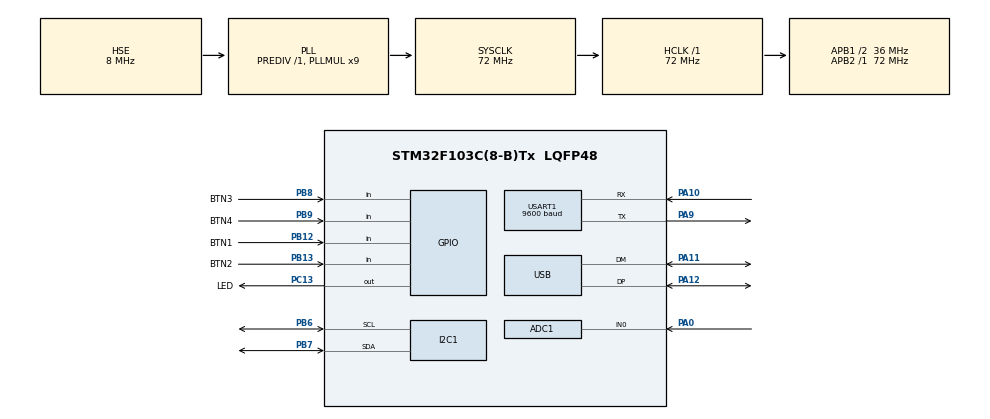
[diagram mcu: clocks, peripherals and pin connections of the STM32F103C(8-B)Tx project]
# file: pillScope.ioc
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ADC1.Channel-0\#ChannelRegularConversion=ADC_CHANNEL_0
ADC1.ContinuousConvMode=DISABLE
ADC1.ExternalTrigConv=ADC_EXTERNALTRIGCONV_T3_TRGO
ADC1.NbrOfConversion=1
ADC1.NbrOfConversionFlag=1
ADC1.Rank-0\#ChannelRegularConversion=1
ADC1.SamplingTime-0\#ChannelRegularConversion=ADC_SAMPLETIME_1CYCLE_5
ADC1.master=1
Dma.ADC1.0.Direction=DMA_PERIPH_TO_MEMORY
Dma.ADC1.0.Instance=DMA1_Channel1
Dma.ADC1.0.MemDataAlignment=DMA_MDATAALIGN_HALFWORD
Dma.ADC1.0.MemInc=DMA_MINC_ENABLE
Dma.ADC1.0.Mode=DMA_NORMAL
Dma.ADC1.0.PeriphDataAlignment=DMA_PDATAALIGN_HALFWORD
Dma.ADC1.0.PeriphInc=DMA_PINC_DISABLE
Dma.ADC1.0.Priority=DMA_PRIORITY_MEDIUM
Dma.Request0=ADC1
Mcu.Family=STM32F1
Mcu.Name=STM32F103C(8-B)Tx
Mcu.Package=LQFP48
NVIC.DMA1_Channel1_IRQn=true\:0\:0\:false\:false\:true\:false\:true\:true
NVIC.PriorityGroup=NVIC_PRIORITYGROUP_4
NVIC.USART1_IRQn=true\:0\:0\:false\:false\:true\:true\:true\:true
NVIC.USB_LP_CAN1_RX0_IRQn=true\:0\:0\:false\:false\:true\:false\:true\:true
PA0-WKUP.Signal=ADCx_IN0
PA10.Mode=Asynchronous
PA10.Signal=USART1_RX
PA11.Mode=Device
PA11.Signal=USB_DM
PA12.Mode=Device
PA12.Signal=USB_DP
PA13.Mode=Serial_Wire
PA13.Signal=SYS_JTMS-SWDIO
PA14.Mode=Serial_Wire
PA14.Signal=SYS_JTCK-SWCLK
PA9.Mode=Asynchronous
PA9.Signal=USART1_TX
PB12.GPIO_Label=BTN1
PB12.GPIO_PuPd=GPIO_PULLUP
PB12.Signal=GPIO_Input
PB13.GPIO_Label=BTN2
PB13.GPIO_PuPd=GPIO_PULLUP
PB13.Signal=GPIO_Input
PB6.Mode=I2C
PB6.Signal=I2C1_SCL
PB7.Mode=I2C
PB7.Signal=I2C1_SDA
PB8.GPIO_Label=BTN3
PB8.GPIO_PuPd=GPIO_PULLUP
PB8.Signal=GPIO_Input
PB9.GPIO_Label=BTN4
PB9.GPIO_PuPd=GPIO_PULLUP
PB9.Signal=GPIO_Input
PC13-TAMPER-RTC.GPIO_Label=LED
PC13-TAMPER-RTC.Signal=GPIO_Output
PD0-OSC_IN.Mode=HSE-External-Oscillator
PD0-OSC_IN.Signal=RCC_OSC_IN
PD1-OSC_OUT.Mode=HSE-External-Oscillator
PD1-OSC_OUT.Signal=RCC_OSC_OUT
ProjectManager.HeapSize=0x200
ProjectManager.StackSize=0x400
ProjectManager.TargetToolchain=Makefile
RCC.ADCPresc=RCC_ADCPCLK2_DIV6
RCC.AHBFreq_Value=72000000
RCC.APB1CLKDivider=RCC_HCLK_DIV2
RCC.APB1Freq_Value=36000000
RCC.APB1TimFreq_Value=72000000
RCC.APB2Freq_Value=72000000
RCC.APB2TimFreq_Value=72000000
RCC.HCLKFreq_Value=72000000
RCC.PLLMUL=RCC_PLL_MUL9
RCC.PLLSourceVirtual=RCC_PLLSOURCE_HSE
RCC.SYSCLKFreq_VALUE=72000000
RCC.SYSCLKSource=RCC_SYSCLKSOURCE_PLLCLK
RCC.USBFreq_Value=48000000
RCC.USBPrescaler=RCC_USBCLKSOURCE_PLL_DIV1_5
SH.ADCx_IN0.0=ADC1_IN0,IN0
TIM3.TIM_MasterOutputTrigger=TIM_TRGO_UPDATE
TIM3.TIM_MasterSlaveMode=TIM_MASTERSLAVEMODE_DISABLE
USART1.BaudRate=9600
USART1.VirtualMode=VM_ASYNC
USB_DEVICE.CLASS_NAME_FS=CDC
USB_DEVICE.PRODUCT_STRING_CDC_FS=pillScope COM Port
USB_DEVICE.VirtualMode=Cdc
USB_DEVICE.VirtualModeFS=Cdc_FS
VP_TIM3_VS_ClockSourceINT.Mode=Internal
VP_USB_DEVICE_VS_USB_DEVICE_CDC_FS.Mode=CDC_FS
board=custom

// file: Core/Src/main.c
/* USER CODE BEGIN Header */
/**
 ******************************************************************************
 * @file           : main.c
 * @brief          : Main program body
 ******************************************************************************
 * @attention
 *
 * Copyright (c) 2022 STMicroelectronics.
 * All rights reserved.
 *
 * This software is licensed under terms that can be found in the LICENSE file
 * in the root directory of this software component.
 * If no LICENSE file comes with this software, it is provided AS-IS.
 *
 ******************************************************************************
 */
/* USER CODE END Header */
#include "main.h"
#include "usb_device.h"

ADC_HandleTypeDef hadc1;
DMA_HandleTypeDef hdma_adc1;

I2C_HandleTypeDef hi2c1;

TIM_HandleTypeDef htim3;

UART_HandleTypeDef huart1;

void SystemClock_Config(void);
static void MX_GPIO_Init(void);
static void MX_DMA_Init(void);
static void MX_ADC1_Init(void);
static void MX_TIM3_Init(void);
static void MX_I2C1_Init(void);
static void MX_USART1_UART_Init(void);

int main(void)
{

  /* MCU Configuration--------------------------------------------------------*/

  /* Reset of all peripherals, Initializes the Flash interface and the Systick. */
  HAL_Init();

  /* Configure the system clock */
  SystemClock_Config();

  /* Initialize all configured peripherals */
  MX_GPIO_Init();
  MX_DMA_Init();
  MX_ADC1_Init();
  MX_TIM3_Init();
  MX_I2C1_Init();
  MX_USB_DEVICE_Init();
  MX_USART1_UART_Init();
  /* USER CODE BEGIN 2 */
  scopeInit();
  /* USER CODE END 2 */

  /* Infinite loop */
  /* USER CODE BEGIN WHILE */
  while (1)
  {
    scopeLoop();
    /* USER CODE END WHILE */

  }
}

void SystemClock_Config(void)
{
  RCC_OscInitTypeDef RCC_OscInitStruct = {0};
  RCC_ClkInitTypeDef RCC_ClkInitStruct = {0};
  RCC_PeriphCLKInitTypeDef PeriphClkInit = {0};

  /** Initializes the RCC Oscillators according to the specified parameters
   * in the RCC_OscInitTypeDef structure.
   */
  RCC_OscInitStruct.OscillatorType = RCC_OSCILLATORTYPE_HSE;
  RCC_OscInitStruct.HSEState = RCC_HSE_ON;
  RCC_OscInitStruct.HSEPredivValue = RCC_HSE_PREDIV_DIV1;
  RCC_OscInitStruct.HSIState = RCC_HSI_ON;
  RCC_OscInitStruct.PLL.PLLState = RCC_PLL_ON;
  RCC_OscInitStruct.PLL.PLLSource = RCC_PLLSOURCE_HSE;
  RCC_OscInitStruct.PLL.PLLMUL = RCC_PLL_MUL9;
  if (HAL_RCC_OscConfig(&RCC_OscInitStruct) != HAL_OK)
  {
    Error_Handler();
  }

  /** Initializes the CPU, AHB and APB buses clocks
   */
  RCC_ClkInitStruct.ClockType = RCC_CLOCKTYPE_HCLK | RCC_CLOCKTYPE_SYSCLK | RCC_CLOCKTYPE_PCLK1 | RCC_CLOCKTYPE_PCLK2;
  RCC_ClkInitStruct.SYSCLKSource = RCC_SYSCLKSOURCE_PLLCLK;
  RCC_ClkInitStruct.AHBCLKDivider = RCC_SYSCLK_DIV1;
  RCC_ClkInitStruct.APB1CLKDivider = RCC_HCLK_DIV2;
  RCC_ClkInitStruct.APB2CLKDivider = RCC_HCLK_DIV1;

  if (HAL_RCC_ClockConfig(&RCC_ClkInitStruct, FLASH_LATENCY_2) != HAL_OK)
  {
    Error_Handler();
  }
  PeriphClkInit.PeriphClockSelection = RCC_PERIPHCLK_ADC | RCC_PERIPHCLK_USB;
  PeriphClkInit.AdcClockSelection = RCC_ADCPCLK2_DIV6;
  PeriphClkInit.UsbClockSelection = RCC_USBCLKSOURCE_PLL_DIV1_5;
  if (HAL_RCCEx_PeriphCLKConfig(&PeriphClkInit) != HAL_OK)
  {
    Error_Handler();
  }
}

static void MX_ADC1_Init(void)
{

  ADC_ChannelConfTypeDef sConfig = {0};

  /** Common config
   */
  hadc1.Instance = ADC1;
  hadc1.Init.ScanConvMode = ADC_SCAN_DISABLE;
  hadc1.Init.ContinuousConvMode = DISABLE;
  hadc1.Init.DiscontinuousConvMode = DISABLE;
  hadc1.Init.ExternalTrigConv = ADC_EXTERNALTRIGCONV_T3_TRGO;
  hadc1.Init.DataAlign = ADC_DATAALIGN_RIGHT;
  hadc1.Init.NbrOfConversion = 1;
  if (HAL_ADC_Init(&hadc1) != HAL_OK)
  {
    Error_Handler();
  }

  /** Configure Regular Channel
   */
  sConfig.Channel = ADC_CHANNEL_0;
  sConfig.Rank = ADC_REGULAR_RANK_1;
  sConfig.SamplingTime = ADC_SAMPLETIME_1CYCLE_5;
  if (HAL_ADC_ConfigChannel(&hadc1, &sConfig) != HAL_OK)
  {
    Error_Handler();
  }
}

static void MX_I2C1_Init(void)
{

  hi2c1.Instance = I2C1;
  hi2c1.Init.ClockSpeed = 100000;
  hi2c1.Init.DutyCycle = I2C_DUTYCYCLE_2;
  hi2c1.Init.OwnAddress1 = 0;
  hi2c1.Init.AddressingMode = I2C_ADDRESSINGMODE_7BIT;
  hi2c1.Init.DualAddressMode = I2C_DUALADDRESS_DISABLE;
  hi2c1.Init.OwnAddress2 = 0;
  hi2c1.Init.GeneralCallMode = I2C_GENERALCALL_DISABLE;
  hi2c1.Init.NoStretchMode = I2C_NOSTRETCH_DISABLE;
  if (HAL_I2C_Init(&hi2c1) != HAL_OK)
  {
    Error_Handler();
  }
}

static void MX_TIM3_Init(void)
{

  TIM_ClockConfigTypeDef sClockSourceConfig = {0};
  TIM_MasterConfigTypeDef sMasterConfig = {0};

  htim3.Instance = TIM3;
  htim3.Init.Prescaler = 0;
  htim3.Init.CounterMode = TIM_COUNTERMODE_UP;
  htim3.Init.Period = 65535;
  htim3.Init.ClockDivision = TIM_CLOCKDIVISION_DIV1;
  htim3.Init.AutoReloadPreload = TIM_AUTORELOAD_PRELOAD_DISABLE;
  if (HAL_TIM_Base_Init(&htim3) != HAL_OK)
  {
    Error_Handler();
  }
  sClockSourceConfig.ClockSource = TIM_CLOCKSOURCE_INTERNAL;
  if (HAL_TIM_ConfigClockSource(&htim3, &sClockSourceConfig) != HAL_OK)
  {
    Error_Handler();
  }
  sMasterConfig.MasterOutputTrigger = TIM_TRGO_UPDATE;
  sMasterConfig.MasterSlaveMode = TIM_MASTERSLAVEMODE_DISABLE;
  if (HAL_TIMEx_MasterConfigSynchronization(&htim3, &sMasterConfig) != HAL_OK)
  {
    Error_Handler();
  }
}

static void MX_USART1_UART_Init(void)
{

  huart1.Instance = USART1;
  huart1.Init.BaudRate = 9600;
  huart1.Init.WordLength = UART_WORDLENGTH_8B;
  huart1.Init.StopBits = UART_STOPBITS_1;
  huart1.Init.Parity = UART_PARITY_NONE;
  huart1.Init.Mode = UART_MODE_TX_RX;
  huart1.Init.HwFlowCtl = UART_HWCONTROL_NONE;
  huart1.Init.OverSampling = UART_OVERSAMPLING_16;
  if (HAL_UART_Init(&huart1) != HAL_OK)
  {
    Error_Handler();
  }
}

static void MX_DMA_Init(void)
{

  /* DMA controller clock enable */
  __HAL_RCC_DMA1_CLK_ENABLE();

  /* DMA interrupt init */
  /* DMA1_Channel1_IRQn interrupt configuration */
  HAL_NVIC_SetPriority(DMA1_Channel1_IRQn, 0, 0);
  HAL_NVIC_EnableIRQ(DMA1_Channel1_IRQn);
}

static void MX_GPIO_Init(void)
{
  GPIO_InitTypeDef GPIO_InitStruct = {0};

  /* GPIO Ports Clock Enable */
  __HAL_RCC_GPIOC_CLK_ENABLE();
  __HAL_RCC_GPIOD_CLK_ENABLE();
  __HAL_RCC_GPIOA_CLK_ENABLE();
  __HAL_RCC_GPIOB_CLK_ENABLE();

  /*Configure GPIO pin Output Level */
  HAL_GPIO_WritePin(LED_GPIO_Port, LED_Pin, GPIO_PIN_RESET);

  /*Configure GPIO pin : LED_Pin */
  GPIO_InitStruct.Pin = LED_Pin;
  GPIO_InitStruct.Mode = GPIO_MODE_OUTPUT_PP;
  GPIO_InitStruct.Pull = GPIO_NOPULL;
  GPIO_InitStruct.Speed = GPIO_SPEED_FREQ_LOW;
  HAL_GPIO_Init(LED_GPIO_Port, &GPIO_InitStruct);

  /*Configure GPIO pins : BTN1_Pin BTN2_Pin BTN3_Pin BTN4_Pin */
  GPIO_InitStruct.Pin = BTN1_Pin | BTN2_Pin | BTN3_Pin | BTN4_Pin;
  GPIO_InitStruct.Mode = GPIO_MODE_INPUT;
  GPIO_InitStruct.Pull = GPIO_PULLUP;
  HAL_GPIO_Init(GPIOB, &GPIO_InitStruct);
}

/* USER CODE BEGIN 4 */
int __io_putchar(int ch)
{
  writeChar(ch);
  return ch;
}

void printFloat(float v, int decimalDigits, char s[])
{
  uint8_t neg = 0;
  if (v < 0)
  {
    neg = 1;
    v = v - (2.0 * v);
  }
  int i = 1;
  int intPart, fractPart;
  for (; decimalDigits != 0; i *= 10, decimalDigits--)
    ;
  intPart = (int)v;
  fractPart = (int)((v - (float)(int)v) * i);
  if (fractPart < 0)
    fractPart *= -1;
  if (neg)
    sprintf(s, "-%i.%i", intPart, fractPart);
  else
    sprintf(s, "%i.%i", intPart, fractPart);
}

/* USER CODE END 4 */

void Error_Handler(void)
{
  __disable_irq();
  while (1)
  {
  }
}
